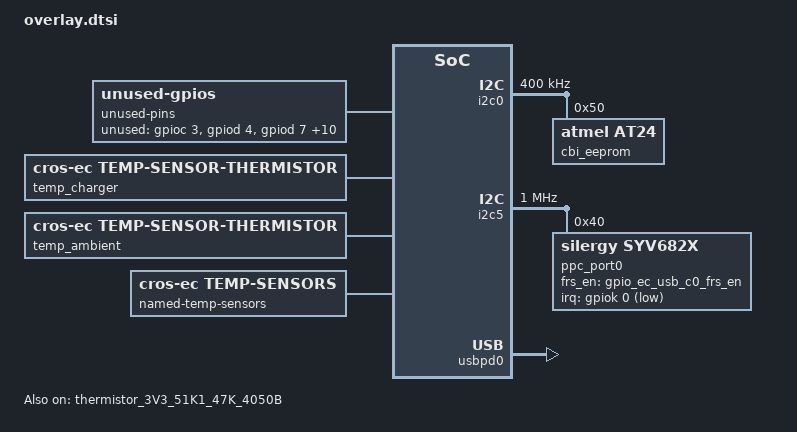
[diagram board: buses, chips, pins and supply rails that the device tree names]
/* Copyright 2025 The ChromiumOS Authors
 * Use of this source code is governed by a BSD-style license that can be
 * found in the LICENSE file.
 */

#include <cros/thermistor/thermistor.dtsi>
#include <dt-bindings/usb_pd_tcpm.h>

/ {
	aliases {
		gpio-cbi-wp = &gpio_ec_cbi_wp;
		gpio-wp = &gpio_ec_wp_odl;
		int-wp = &int_wp_l;
	};


	ec-console {
		compatible = "ec-console";
		disabled = "events", "lpc", "hostcmd";
	};

	gpio-interrupts {
		compatible = "cros-ec,gpio-interrupts";

		int_power_button: power_button {
			irq-pin = <&gpio_gsc_ec_pwr_btn_odl>;
			flags = <GPIO_INT_EDGE_BOTH>;
			handler = "power_button_interrupt";
		};
		int_wp_l: wp_l {
			irq-pin = <&gpio_ec_wp_odl>;
			flags = <GPIO_INT_EDGE_BOTH>;
			handler = "switch_interrupt";
		};
		int_usb_c0: usb_c0 {
			irq-pin = <&gpio_usb_c0_fault_l>;
			flags = <GPIO_INT_EDGE_FALLING>;
			handler = "syv682x_interrupt";
		};
		int_rec_button: rec_button {
			irq-pin = <&gpio_gsc_ec_rec_btn_odl>;
			flags = <GPIO_INT_EDGE_BOTH>;
			handler = "button_interrupt";
		};
		int_bj_adp_present: bj_adp_present {
			irq-pin = <&gpio_bj_adp_present>;
			flags = <GPIO_INT_EDGE_BOTH>;
			handler = "adp_connect_interrupt";
		};
	};

	unused-pins {
		compatible = "unused-gpios";
		unused-gpios = <&gpioc 3 0>,
			       <&gpiod 4 0>,
			       <&gpiod 7 0>,
			       <&gpioe 0 0>,
			       <&gpioe 6 0>,
			       <&gpioe 7 0>,
			       <&gpioh 2 0>,
			       <&gpioh 4 0>,
			       <&gpioh 6 0>,
			       <&gpioi 6 0>,
			       <&gpioj 1 0>,
			       <&gpioj 7 0>,
			       <&gpiok 3 0>;
	};

	temp_memory: memory {
		compatible = "cros-ec,temp-sensor-thermistor";
		thermistor = <&thermistor_3V3_51K1_47K_4050B>;
		adc = <&adc_temp_sensor_1>;
	};
	temp_charger: charger {
		compatible = "cros-ec,temp-sensor-thermistor";
		thermistor = <&thermistor_3V3_51K1_47K_4050B>;
		adc = <&adc_temp_sensor_2>;
	};
	temp_ambient: ambient {
		compatible = "cros-ec,temp-sensor-thermistor";
		thermistor = <&thermistor_3V3_51K1_47K_4050B>;
		adc = <&adc_temp_sensor_3>;
	};

	named-temp-sensors {
		compatible = "cros-ec,temp-sensors";
		memory {
			temp_fan_off = <35>;
			temp_fan_max = <60>;
			temp_host_high = <85>;
			temp_host_halt = <90>;
			temp_host_release_high = <80>;
			power-good-pin = <&gpio_ec_soc_dsw_pwrok>;
			sensor = <&temp_memory>;
		};
		charger {
			temp_fan_off = <35>;
			temp_fan_max = <60>;
			temp_host_high = <85>;
			temp_host_halt = <90>;
			temp_host_release_high = <80>;
			power-good-pin = <&gpio_ec_soc_dsw_pwrok>;
			sensor = <&temp_charger>;
		};
		ambient {
			temp_fan_off = <35>;
			temp_fan_max = <60>;
			temp_host_high = <85>;
			temp_host_halt = <90>;
			temp_host_release_high = <80>;
			power-good-pin = <&gpio_ec_soc_dsw_pwrok>;
			sensor = <&temp_ambient>;
		};
	};

	usba {
		compatible = "cros-ec,usba-port-enable-pins";

		enable-pins = <&gpio_en_usb_a0_vbus
			       &gpio_en_usb_a1_vbus
			       &gpio_en_usb_a2_vbus
			       &gpio_en_usb_a3_vbus
			       &gpio_en_usb_a4_vbus>;
		status = "okay";
	};

	usbc {
		#address-cells = <1>;
		#size-cells = <0>;

		port0@0 {
			compatible = "named-usbc-port";
			reg = <0>;
			tcpc = <&usbpd0>;
			ppc = <&ppc_port0>;
			usb-mux-chain-0 {
				compatible = "cros-ec,usb-mux-chain";
				usb-muxes = <&virtual_mux_0>;
			};
		};
		port0-muxes {
			virtual_mux_0: virtual-mux-0 {
				compatible = "cros-ec,usbc-mux-virtual";
			};
		};
	};

	cec {
		compatible = "cros-ec,cec";

		#address-cells = <1>;
		#size-cells = <0>;

		cec0@0 {
			compatible = "cros-ec,cec-it83xx";
			reg = <0>;
		};

		cec1@1 {
			compatible = "cros-ec,cec-bitbang";
			reg = <1>;
			gpio-out = <&gpio_hdmi2_cec>;
			gpio-in = <&gpio_hdmi2_cec_in>;
			gpio-pull-up = <&gpio_hdmi2_cec_pull_up>;
		};
	};
};

&gpio_vccin_aux_vid0 {
	gpios = <&gpiod 0 (GPIO_INPUT | GPIO_VOLTAGE_1P8)>;
};
&gpio_vccin_aux_vid1 {
	gpios = <&gpiok 1 (GPIO_INPUT | GPIO_VOLTAGE_1P8)>;
};

&gpio_ec_prochot_odl {
	gpios = <&gpioi 1 (GPIO_ODR_HIGH | GPIO_VOLTAGE_1P8)>;
};

&thermistor_3V3_51K1_47K_4050B {
	status = "okay";
};

&adc_ec_vsense_pp3300_s5 {
	/*
	 * Voltage divider on input has 47k upper and 220k lower legs with 3 V
	 * full-scale reading on the ADC. Apply the largest possible multiplier
	 * (without overflowing int32) to get the best possible approximation
	 * of the actual ratio, but derate by a factor of two to ensure
	 * unexpectedly high values won't overflow.
	 */
	mul = <(715828 / 2)>;
	div = <(589820 / 2)>;
};

&adc_vbus {
	/* 113/1113 voltage divider */
	mul = <1113>;
	div = <113>;
};

&adc0 {
	pinctrl-0 = <&adc0_ch0_gpi0_default
		     &adc0_ch2_gpi2_default
		     &adc0_ch3_gpi3_default
		     &adc0_ch13_gpl0_default
		     &adc0_ch14_gpl1_default>;
	pinctrl-names = "default";
};

&i2c0 {
	label = "I2C_EEPROM";
	clock-frequency = <I2C_BITRATE_FAST>;

	cbi_eeprom: eeprom@50 {
		compatible = "atmel,at24";
		reg = <0x50>;
		size = <2048>;
		pagesize = <16>;
		address-width = <8>;
		timeout = <5>;
	};
	pinctrl-0 = <&i2c0_clk_gpb3_default
		     &i2c0_data_gpb4_default>;
	pinctrl-names = "default";
};

&i2c5 {
	label = "I2C_USB_C0_TCPC";
	clock-frequency = <I2C_BITRATE_FAST_PLUS>;
	pinctrl-0 = <&i2c5_clk_gpa4_default
		     &i2c5_data_gpa5_default>;
	pinctrl-names = "default";

	ppc_port0: ppc_syv@40 {
		compatible = "silergy,syv682x";
		reg = <0x40>;
		frs_en_gpio = <&gpio_ec_usb_c0_frs_en>;
		irq-gpios = <&gpiok 0 GPIO_ACTIVE_LOW>;
	};
};

&usbpd0 {
	status = "okay";
};
